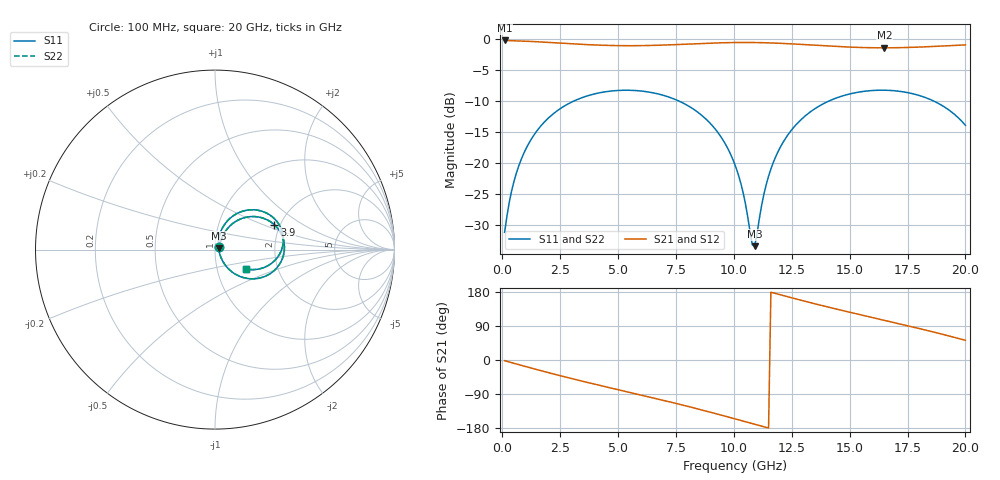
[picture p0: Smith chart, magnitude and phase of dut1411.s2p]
! Touchstone file exported from HFSS 2026.1.0
!  File:  C:/ffzhzh/LocalFiles/Ansys_Project_Files/temp_train_TSV_RDL_1411_1783352902_46376.aedt
!  Generated:  12:01:16 AM Jul  7, 2026
!  Design:  TSV_RDL
!  Project:  temp_train_TSV_RDL_1411_1783352902_46376
! Variables:
!  h_bsmrdl = 4.78um
!  h_ox = 20um
!  h_rdl = 5um
!  h_sub = 76.21um
!  h_tmrdl = 4.21um
!  h_tsv = 76.21um
!  h_via = 3um
!  l_bsmrdl = 537um
!  l_sub = 5226.8um
!  l_tmrdl = 775.81um
!  m_sub = 200um
!  pitch = 33.52um
!  r_tsv = 8um
!  s_tmrdl = 10um
!  w_bsmrdl = 22.08um
!  w_sub = 500um
!  w_tmrdl = 15.44um
!  x_tsv_center1 = 783.53um
!  x_tsv_center2 = 1342.61um
!  x_tsv_center3 = 2133.86um
!  x_tsv_center4 = 2692.94um
!  x_tsv_center5 = 3484.19um
!  x_tsv_center6 = 4043.27um
# GHz S MA R 50.000000
! Terminal data exported
! Port[1] = TM_RDL1_1_T1
! Port[2] = TM_RDL5_1_T1
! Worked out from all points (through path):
!   200 points, 100 MHz to 20 GHz, reference 50 ohm
!   highest |S21| = -0.21 dB at 100 MHz (marker M1); lowest = -1.4 dB at 16.5 GHz (marker M2)
!   group delay of S21, straight-line fit = 42.7 ps
!   lowest |S11| = -33.4 dB at 10.9 GHz (marker M3), VSWR 1.04, Z = 52 + j0.8 ohm
!   |S11| at or under -10 dB: start of sweep to 3.079 GHz; 7.637 GHz to 14.1 GHz (6.458 GHz wide, 59.4 % of centre); 18.64 GHz to end of sweep
!   |S22| runs from -33.2 to -8.2 dB; largest |S21 - S12| = 2.3e-14
!   S11 on the Smith chart (normalised r, x): 100 MHz: 1.05, +0.03; 3.9 GHz: 1.87, +0.59; 20 GHz: 1.37, -0.31
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0.1  0.02767 29.5  0.9763 -1.8  0.9763 -1.8  0.02767 29.5
! Gamma 0 0 0 0
! Port Impedance 50 0 50 0
0.5  0.07072 58.6  0.9706 -8.7  0.9706 -8.7  0.07072 58.6
1.2  0.1503 58.2  0.9594 -20.5  0.9594 -20.5  0.1503 58.2
2.2  0.2499 46.2  0.9368 -36.7  0.9368 -36.7  0.2498 46.2
3.5  0.3403 28.2  0.9066 -56.6  0.9066 -56.6  0.3403 28.2
3.9  0.3585 22.7  0.8993 -62.5  0.8993 -62.5  0.3585 22.7
6.8  0.3588 -16.6  0.8939 -104.2  0.8939 -104.2  0.3588 -16.6
8.8  0.2262 -44.1  0.9259 -134.8  0.9259 -134.8  0.2263 -44.0
9.5  0.1569 -52.7  0.9354 -146.2  0.9354 -146.2  0.1569 -52.5
10.1  0.09126 -56.8  0.9401 -156.1  0.9401 -156.1  0.09136 -56.5
10.4  0.05786 -53.7  0.9409 -161.1  0.9409 -161.1  0.05802 -53.3
10.8  0.02182 -9.2  0.9401 -167.8  0.9401 -167.8  0.02227 -8.8
10.9  0.02138 21.1  0.9396 -169.5  0.9396 -169.5  0.02185 20.8
11.3  0.05632 69.1  0.9363 -176.2  0.9363 -176.2  0.05652 68.7
11.8  0.1118 72.0  0.9294 175.5  0.9294 175.5  0.1119 71.8
12.5  0.1857 65.4  0.916 164.1  0.916 164.1  0.1858 65.2
13.4  0.2669 53.7  0.8952 149.9  0.8952 149.9  0.267 53.7
14.9  0.3573 33.6  0.8642 127.5  0.8642 127.5  0.3574 33.6
16.5  0.3874 12.7  0.8514 104.7  0.8514 104.7  0.3874 12.7
16.7  0.3863 10.1  0.8517 101.9  0.8517 101.9  0.3863 10.1
18.6  0.3188 -14.8  0.873 74.1  0.873 74.1  0.3189 -14.8
20  0.202 -32.2  0.8986 52.0  0.8986 52.0  0.2021 -32.1
